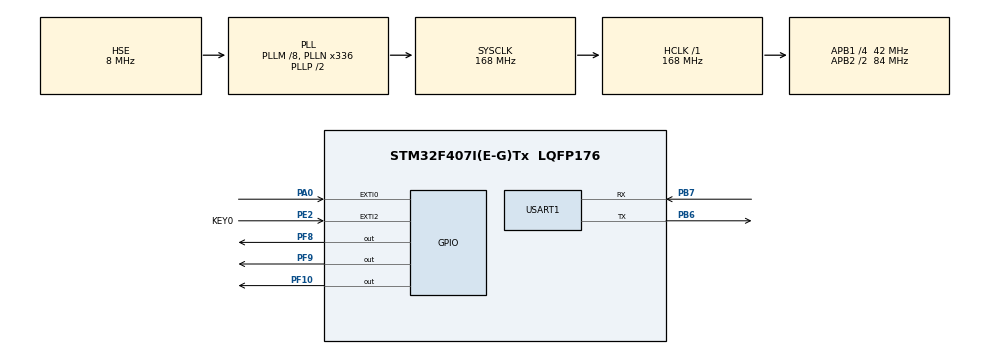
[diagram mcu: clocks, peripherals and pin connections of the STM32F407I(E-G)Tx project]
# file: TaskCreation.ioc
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FREERTOS.INCLUDE_vTaskDelayUntil=1
FREERTOS.Tasks01=USART,-2,128,USART_Task,Default,NULL,Static,USARTBuffer,USARTControlBlock;LED,-3,128,LED_Task,Default,NULL,Dynamic,NULL,NULL;KEY,0,128,KEY_SusRes,Default,NULL,Dynamic,NULL,NULL;Delay,-2,128,DelayTask,Default,NULL,Dynamic,NULL,NULL
FREERTOS.configCHECK_FOR_STACK_OVERFLOW=1
FREERTOS.configGENERATE_RUN_TIME_STATS=1
FREERTOS.configUSE_STATS_FORMATTING_FUNCTIONS=1
FREERTOS.configUSE_TRACE_FACILITY=1
Mcu.Family=STM32F4
Mcu.Name=STM32F407I(E-G)Tx
Mcu.Package=LQFP176
NVIC.EXTI0_IRQn=true\:5\:0\:false\:false\:true\:true\:true\:true
NVIC.EXTI2_IRQn=true\:5\:0\:false\:false\:true\:true\:true\:true
NVIC.PriorityGroup=NVIC_PRIORITYGROUP_4
NVIC.TIM1_UP_TIM10_IRQn=true\:0\:0\:false\:false\:true\:false\:false\:true
NVIC.TIM6_DAC_IRQn=true\:5\:0\:false\:false\:true\:true\:true\:true
NVIC.TimeBase=TIM1_UP_TIM10_IRQn
NVIC.TimeBaseIP=TIM1
PA0-WKUP.GPIO_ModeDefaultEXTI=GPIO_MODE_IT_RISING_FALLING
PA0-WKUP.Signal=GPXTI0
PA13.Mode=Serial_Wire
PA13.Signal=SYS_JTMS-SWDIO
PA14.Mode=Serial_Wire
PA14.Signal=SYS_JTCK-SWCLK
PB6.Mode=Asynchronous
PB6.Signal=USART1_TX
PB7.Mode=Asynchronous
PB7.Signal=USART1_RX
PE2.GPIO_Label=KEY0
PE2.GPIO_ModeDefaultEXTI=GPIO_MODE_IT_FALLING
PE2.GPIO_PuPd=GPIO_PULLUP
PE2.Signal=GPXTI2
PF10.PinState=GPIO_PIN_SET
PF10.Signal=GPIO_Output
PF8.Signal=GPIO_Output
PF9.Signal=GPIO_Output
PH0-OSC_IN.Mode=HSE-External-Oscillator
PH0-OSC_IN.Signal=RCC_OSC_IN
PH1-OSC_OUT.Mode=HSE-External-Oscillator
PH1-OSC_OUT.Signal=RCC_OSC_OUT
ProjectManager.HeapSize=0x200
ProjectManager.StackSize=0x400
ProjectManager.TargetToolchain=MDK-ARM V5
RCC.48MHZClocksFreq_Value=84000000
RCC.AHBFreq_Value=168000000
RCC.APB1CLKDivider=RCC_HCLK_DIV4
RCC.APB1Freq_Value=42000000
RCC.APB1TimFreq_Value=84000000
RCC.APB2CLKDivider=RCC_HCLK_DIV2
RCC.APB2Freq_Value=84000000
RCC.APB2TimFreq_Value=168000000
RCC.CortexFreq_Value=168000000
RCC.HCLKFreq_Value=168000000
RCC.HSE_VALUE=8000000
RCC.HSI_VALUE=16000000
RCC.LSE_VALUE=32768
RCC.PLLM=8
RCC.PLLN=336
RCC.PLLSourceVirtual=RCC_PLLSOURCE_HSE
RCC.SYSCLKFreq_VALUE=168000000
RCC.SYSCLKSource=RCC_SYSCLKSOURCE_PLLCLK
RCC.VCOOutputFreq_Value=336000000
TIM6.Period=50-1
TIM6.Prescaler=84-1
USART1.VirtualMode=VM_ASYNC
VP_FREERTOS_VS_CMSIS_V1.Mode=CMSIS_V1
VP_SYS_VS_tim1.Mode=TIM1
VP_TIM6_VS_ClockSourceINT.Mode=Enable_Timer
board=custom

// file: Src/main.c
/* USER CODE BEGIN Header */
/**
  ******************************************************************************
  * @file           : main.c
  * @brief          : Main program body
  ******************************************************************************
  * @attention
  *
  * <h2><center>&copy; Copyright (c) 2023 STMicroelectronics.
  * All rights reserved.</center></h2>
  *
  * This software component is licensed by ST under Ultimate Liberty license
  * SLA0044, the "License"; You may not use this file except in compliance with
  * the License. You may obtain a copy of the License at:
  *                             www.st.com/SLA0044
  *
  ******************************************************************************
  */
/* USER CODE END Header */

#include "main.h"
#include "cmsis_os.h"
#include "tim.h"
#include "usart.h"
#include "gpio.h"

/* USER CODE BEGIN Includes */
#include "stdio.h"
#include "stm32f4xx_it.h"
/* USER CODE END Includes */

/* USER CODE BEGIN PV */
extern uint32_t timecount;
/* USER CODE END PV */

void SystemClock_Config(void);
void MX_FREERTOS_Init(void);

/* USER CODE BEGIN 0 */
int fputc(int ch, FILE *f)
{
	while(!(USART1->SR & 0x40));
	{
		USART1->DR = (uint8_t)ch;
	}
	return ch;
}
/* USER CODE END 0 */

int main(void)
{

  /* MCU Configuration--------------------------------------------------------*/

  /* Reset of all peripherals, Initializes the Flash interface and the Systick. */
  HAL_Init();

  /* Configure the system clock */
  SystemClock_Config();

  /* Initialize all configured peripherals */
  MX_GPIO_Init();
  MX_USART1_UART_Init();
  MX_TIM6_Init();

  /* Call init function for freertos objects (in freertos.c) */
  MX_FREERTOS_Init();

  /* Start scheduler */
  osKernelStart();

  /* We should never get here as control is now taken by the scheduler */

  /* Infinite loop */
  while (1)
  {

  }
}

void SystemClock_Config(void)
{
  RCC_OscInitTypeDef RCC_OscInitStruct = {0};
  RCC_ClkInitTypeDef RCC_ClkInitStruct = {0};

  /** Configure the main internal regulator output voltage
  */
  __HAL_RCC_PWR_CLK_ENABLE();
  __HAL_PWR_VOLTAGESCALING_CONFIG(PWR_REGULATOR_VOLTAGE_SCALE1);
  /** Initializes the CPU, AHB and APB busses clocks
  */
  RCC_OscInitStruct.OscillatorType = RCC_OSCILLATORTYPE_HSE;
  RCC_OscInitStruct.HSEState = RCC_HSE_ON;
  RCC_OscInitStruct.PLL.PLLState = RCC_PLL_ON;
  RCC_OscInitStruct.PLL.PLLSource = RCC_PLLSOURCE_HSE;
  RCC_OscInitStruct.PLL.PLLM = 8;
  RCC_OscInitStruct.PLL.PLLN = 336;
  RCC_OscInitStruct.PLL.PLLP = RCC_PLLP_DIV2;
  RCC_OscInitStruct.PLL.PLLQ = 4;
  if (HAL_RCC_OscConfig(&RCC_OscInitStruct) != HAL_OK)
  {
    Error_Handler();
  }
  /** Initializes the CPU, AHB and APB busses clocks
  */
  RCC_ClkInitStruct.ClockType = RCC_CLOCKTYPE_HCLK|RCC_CLOCKTYPE_SYSCLK
                              |RCC_CLOCKTYPE_PCLK1|RCC_CLOCKTYPE_PCLK2;
  RCC_ClkInitStruct.SYSCLKSource = RCC_SYSCLKSOURCE_PLLCLK;
  RCC_ClkInitStruct.AHBCLKDivider = RCC_SYSCLK_DIV1;
  RCC_ClkInitStruct.APB1CLKDivider = RCC_HCLK_DIV4;
  RCC_ClkInitStruct.APB2CLKDivider = RCC_HCLK_DIV2;

  if (HAL_RCC_ClockConfig(&RCC_ClkInitStruct, FLASH_LATENCY_5) != HAL_OK)
  {
    Error_Handler();
  }
}

void HAL_TIM_PeriodElapsedCallback(TIM_HandleTypeDef *htim)
{
  if (htim->Instance == TIM1) {
    HAL_IncTick();
  }
  /* USER CODE BEGIN Callback 1 */
	if (htim->Instance == TIM6){
		timecount++;
	}

  /* USER CODE END Callback 1 */
}

void Error_Handler(void)
{
}

/************************ (C) COPYRIGHT STMicroelectronics *****END OF FILE****/

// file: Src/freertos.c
/* USER CODE BEGIN Header */
/**
  ******************************************************************************
  * File Name          : freertos.c
  * Description        : Code for freertos applications
  ******************************************************************************
  * @attention
  *
  * <h2><center>&copy; Copyright (c) 2023 STMicroelectronics.
  * All rights reserved.</center></h2>
  *
  * This software component is licensed by ST under Ultimate Liberty license
  * SLA0044, the "License"; You may not use this file except in compliance with
  * the License. You may obtain a copy of the License at:
  *                             www.st.com/SLA0044
  *
  ******************************************************************************
  */
/* USER CODE END Header */

#include "FreeRTOS.h"
#include "task.h"
#include "main.h"
#include "cmsis_os.h"

/* USER CODE BEGIN Includes */
#include "stdio.h"
#include "string.h"
#include "gpio.h"
#include "tim.h"
/* USER CODE END Includes */

/* USER CODE BEGIN PM */
extern teKeyStatus KStatus;
extern uint32_t timecount;
/* USER CODE END PM */

osThreadId USARTHandle;
uint32_t USARTBuffer[ 128 ];
osStaticThreadDef_t USARTControlBlock;
osThreadId LEDHandle;
osThreadId KEYHandle;
osThreadId DelayHandle;

void USART_Task(void const * argument);
void LED_Task(void const * argument);
void KEY_SusRes(void const * argument);
void DelayTask(void const * argument);

void MX_FREERTOS_Init(void); /* (MISRA C 2004 rule 8.1) */

/* GetIdleTaskMemory prototype (linked to static allocation support) */
void vApplicationGetIdleTaskMemory( StaticTask_t **ppxIdleTaskTCBBuffer, StackType_t **ppxIdleTaskStackBuffer, uint32_t *pulIdleTaskStackSize );

/* Hook prototypes */
void configureTimerForRunTimeStats(void);
unsigned long getRunTimeCounterValue(void);
void vApplicationStackOverflowHook(xTaskHandle xTask, signed char *pcTaskName);

/* USER CODE BEGIN 1 */
/* Functions needed when configGENERATE_RUN_TIME_STATS is on */
__weak void configureTimerForRunTimeStats(void)
{
	HAL_TIM_Base_Start_IT(&htim6);  //Turn on the interrupt of the timer
	timecount = 0ul;                //Initialized to an unsigned long integer
}

__weak unsigned long getRunTimeCounterValue(void)
{
return timecount;
}
/* USER CODE END 1 */

/* USER CODE BEGIN 4 */
__weak void vApplicationStackOverflowHook(xTaskHandle xTask, signed char *pcTaskName)
{
   /* Run time stack overflow checking is performed if
   configCHECK_FOR_STACK_OVERFLOW is defined to 1 or 2. This hook function is
   called if a stack overflow is detected. */

}
/* USER CODE END 4 */

/* USER CODE BEGIN GET_IDLE_TASK_MEMORY */
static StaticTask_t xIdleTaskTCBBuffer;
static StackType_t xIdleStack[configMINIMAL_STACK_SIZE];

void vApplicationGetIdleTaskMemory( StaticTask_t **ppxIdleTaskTCBBuffer, StackType_t **ppxIdleTaskStackBuffer, uint32_t *pulIdleTaskStackSize )
{
  *ppxIdleTaskTCBBuffer = &xIdleTaskTCBBuffer;
  *ppxIdleTaskStackBuffer = &xIdleStack[0];
  *pulIdleTaskStackSize = configMINIMAL_STACK_SIZE;
  /* place for user code */
}
/* USER CODE END GET_IDLE_TASK_MEMORY */

void MX_FREERTOS_Init(void) {

  /* Create the thread(s) */
  /* definition and creation of USART */
  osThreadStaticDef(USART, USART_Task, osPriorityLow, 0, 128, USARTBuffer, &USARTControlBlock);
  USARTHandle = osThreadCreate(osThread(USART), NULL);

  /* definition and creation of LED */
  osThreadDef(LED, LED_Task, osPriorityIdle, 0, 128);
  LEDHandle = osThreadCreate(osThread(LED), NULL);

  /* definition and creation of KEY */
  osThreadDef(KEY, KEY_SusRes, osPriorityNormal, 0, 128);
  KEYHandle = osThreadCreate(osThread(KEY), NULL);

  /* definition and creation of Delay */
  osThreadDef(Delay, DelayTask, osPriorityLow, 0, 128);
  DelayHandle = osThreadCreate(osThread(Delay), NULL);

}

void USART_Task(void const * argument)
{

  /* USER CODE BEGIN USART_Task */
  /* Infinite loop */
  for(;;)
  {//Relative time delay
		//printf("USART is running!\n");
		osDelay(1000);
  }
  /* USER CODE END USART_Task */
}

void LED_Task(void const * argument)
{
  /* USER CODE BEGIN LED_Task */
  /* Infinite loop */
  for(;;)
  {
    HAL_GPIO_WritePin(GPIOF, GPIO_PIN_8|GPIO_PIN_9|GPIO_PIN_10, GPIO_PIN_RESET);
		HAL_GPIO_WritePin(GPIOE, GPIO_PIN_2, GPIO_PIN_RESET);
    osDelay(500);
		HAL_GPIO_WritePin(GPIOF, GPIO_PIN_8|GPIO_PIN_9|GPIO_PIN_10, GPIO_PIN_SET);
		HAL_GPIO_WritePin(GPIOE, GPIO_PIN_2, GPIO_PIN_SET);
    osDelay(500);
  }
  /* USER CODE END LED_Task */
}

/* USER CODE BEGIN Header_KEY_SusRes */
uint8_t TlBuff[400];
/**
* @brief Function implementing the KEY thread.
* @param argument: Not used
* @retval None
*/
/* USER CODE END Header_KEY_SusRes */
void KEY_SusRes(void const * argument)
{
  /* USER CODE BEGIN KEY_SusRes */
	KStatus = KEY_RESET;
	//printf("fuck\n");
  /* Infinite loop */
  for(;;)
  {//The suspend and resume of the LED is realized according to the key flag bit
    if(KStatus == KEY_DOWN)
		{
			memset(TlBuff, 0, 400);
			vTaskGetRunTimeStats((char *)TlBuff);
			printf("name,   abs time   time\n");
			printf("-------------------------------------------------------\n");
			printf("%s\n",TlBuff);
			printf("timecount%d\n", timecount);
			KStatus = KEY_RESET;//Flag bit reset
		}
		if(KStatus == KEY_UP)
		{
			KStatus = KEY_RESET;
		}
		osDelay(1000);
  }
  /* USER CODE END KEY_SusRes */
}

void DelayTask(void const * argument)
{
  /* USER CODE BEGIN DelayTask */
	TickType_t WakeTime = xTaskGetTickCount();
  /* Infinite loop */
  for(;;)
  {
		taskENTER_CRITICAL();
		//printf("DelayTask is running!\n");
		taskEXIT_CRITICAL();
		vTaskDelayUntil(&WakeTime, 1000);//Absolute time delay
  }
  /* USER CODE END DelayTask */
}

/************************ (C) COPYRIGHT STMicroelectronics *****END OF FILE****/
